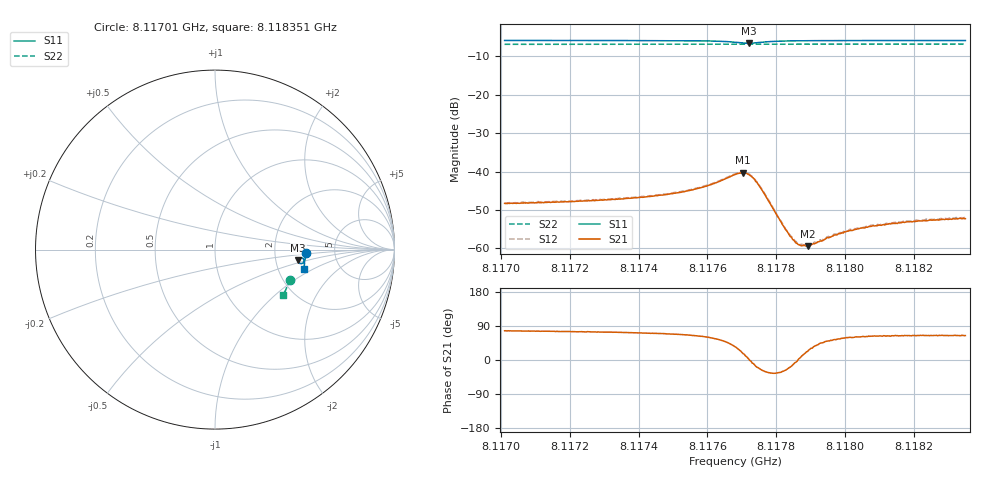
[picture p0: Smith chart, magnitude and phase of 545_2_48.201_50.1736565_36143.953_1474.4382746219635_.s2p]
#  HZ  S  RI  R  50.00
! Rohde & Schwarz Vector Network Analyzer
! Rohde-Schwarz,ZNB20-2Port,1311601062101988,3.16
! Created: UTC 3/20/2024, 12:00:33 PM
! freq[Hz]  re:S11  im:S11  re:S21  im:S21  re:S12  im:S12  re:S22  im:S22
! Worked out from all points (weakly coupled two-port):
!   401 points, 8.11701 GHz to 8.118351 GHz, reference 50 ohm
!   highest |S21| = -40.33 dB at 8.117704 GHz (marker M1); lowest = -59.4 dB at 8.117892 GHz (marker M2)
!   lowest |S11| = -6.6 dB at 8.117721 GHz (marker M3), VSWR 2.75, Z = 134 - j20.3 ohm
!   |S11| at or under -10 dB: nowhere
!   |S22| runs from -6.9 to -6.8 dB; largest |S21 - S12| = 0.00028
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8.1170105e9  0.5066 -0.0164  0.000864 0.00375  0.000875 0.00381  0.4186 -0.1691
8.1172349e9  0.505 -0.0343  0.00107 0.00398  0.00116 0.00406  0.413 -0.184
8.1173522e9  0.5038 -0.0442  0.00131 0.00421  0.0014 0.00429  0.4097 -0.1916
8.1174594e9  0.5019 -0.0542  0.00168 0.00462  0.00172 0.00468  0.4068 -0.1984
8.1175264e9  0.4997 -0.0612  0.00211 0.005  0.0022 0.00509  0.4048 -0.2028
8.11759e9  0.4956 -0.0694  0.00299 0.00555  0.00313 0.00567  0.4027 -0.207
8.1176805e9  0.4742 -0.0777  0.00749 0.00526  0.00766 0.00533  0.3991 -0.2124
8.1177039e9  0.4647 -0.0699  0.00921 0.00279  0.00936 0.00293  0.3981 -0.2133
8.1177207e9  0.4628 -0.0593  0.00914 0.000331  0.00933 0.000324  0.3975 -0.214
8.1177341e9  0.4665 -0.0514  0.0081 -0.00136  0.00816 -0.00149  0.3975 -0.2143
8.1177508e9  0.4747 -0.0463  0.00604 -0.00249  0.00614 -0.00257  0.3976 -0.2152
8.1178279e9  0.4958 -0.0566  0.00156 -0.000793  0.00157 -0.000839  0.396 -0.2205
8.1178446e9  0.497 -0.0594  0.00134 -0.000394  0.00137 -0.000393  0.3955 -0.2217
8.1178648e9  0.498 -0.0625  0.00112 3.51e-05  0.00116 4.44e-05  0.3948 -0.223
8.1178916e9  0.4986 -0.0665  0.000989 0.000408  0.00102 0.000395  0.3941 -0.2247
8.117905e9  0.4988 -0.0681  0.000969 0.000584  0.000947 0.000613  0.3936 -0.2256
8.1179753e9  0.4988 -0.076  0.00088 0.00121  0.000916 0.00123  0.3914 -0.2301
8.1180189e9  0.4986 -0.0805  0.00087 0.00147  0.000904 0.00151  0.39 -0.233
8.1180758e9  0.4979 -0.0857  0.000884 0.00172  0.000928 0.00177  0.388 -0.2363
8.1181294e9  0.4972 -0.0902  0.000941 0.00188  0.000928 0.00188  0.386 -0.2396
8.11824e9  0.4957 -0.0994  0.000992 0.00207  0.00102 0.00213  0.3822 -0.2464
8.1183505e9  0.4939 -0.108  0.00105 0.0022  0.0011 0.00223  0.3782 -0.2531
